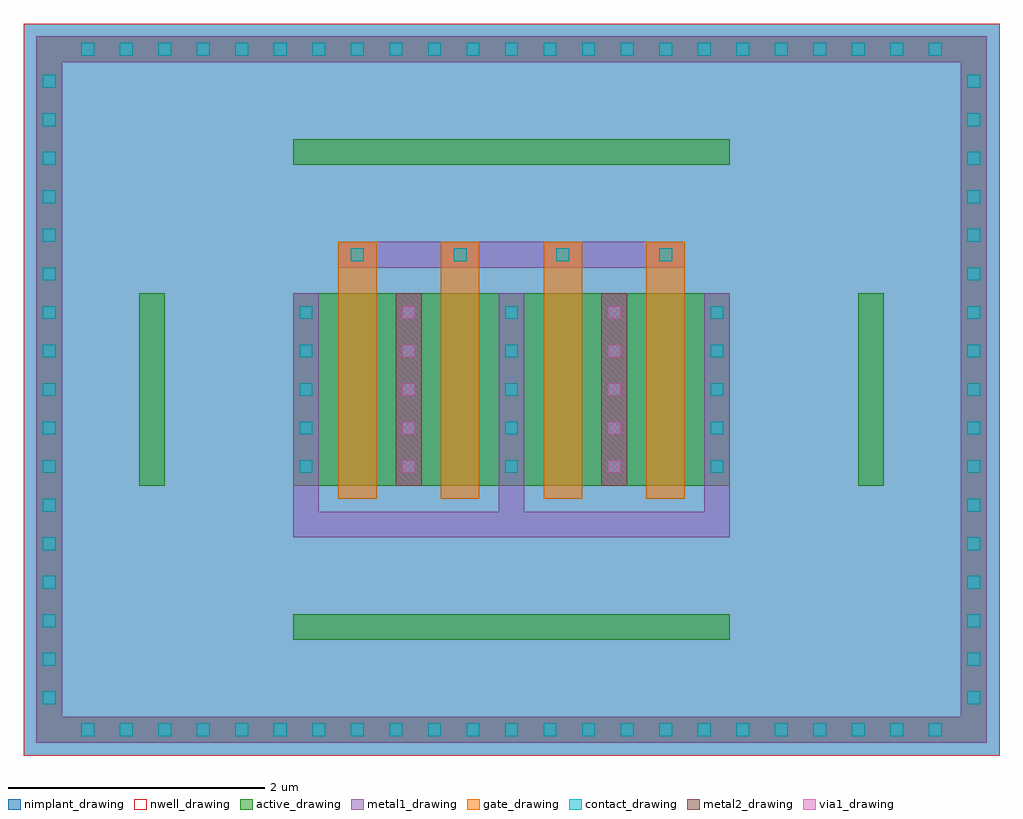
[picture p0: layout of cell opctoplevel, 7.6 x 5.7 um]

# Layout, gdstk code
import gdstk
lib = gdstk.Library(unit=1e-6, precision=1e-09)
def R(c, l, rs):  # rectangles x0, y0, x1, y1
    for r in rs: c.add(gdstk.rectangle(r[:2], r[2:], *l))
def A(c, l, x, y, w, h, nx, ny, dx, dy):  # array of equal rectangles
    R(c, l, [(x+i*dx, y+j*dy, x+i*dx+w, y+j*dy+h) for i in range(nx) for j in range(ny)])
active_drawing = (1, 0)
nwell_drawing = (3, 0)
nimplant_drawing = (5, 0)
gate_drawing = (6, 0)
contact_drawing = (7, 0)
metal1_drawing = (8, 0)
via1_drawing = (9, 0)
metal2_drawing = (10, 0)

opctoplevel = lib.new_cell('opctoplevel')
R(opctoplevel, active_drawing, [(-2.35,-2,5.05,-1.8), (-2.35,-2,-2.15,3.5), (4.85,-2,5.05,3.5), (-0.35,-1.2,3.05,-1), (-1.55,0,-1.35,1.5), (-0.35,0,3.05,1.5), (4.05,0,4.25,1.5), (-0.35,2.5,3.05,2.7), (-2.35,3.3,5.05,3.5)])
R(opctoplevel, nwell_drawing, [(-2.45,-2.1,5.15,3.6)])
R(opctoplevel, nimplant_drawing, [(-2.45,-2.1,5.15,-1.7), (-2.45,-2.1,-2.05,3.6), (4.75,-2.1,5.15,3.6), (-2.05,-1.7,4.75,3.2), (-2.45,3.2,5.15,3.6)])
A(opctoplevel, gate_drawing, 0, -0.1, 0.3, 2, 4, 1, 0.8, 0)
A(opctoplevel, contact_drawing, -2, -1.95, 0.1, 0.1, 23, 2, 0.3, 5.3)
A(opctoplevel, contact_drawing, -2.3, -1.7, 0.1, 0.1, 1, 17, 0, 0.3)
A(opctoplevel, contact_drawing, 4.9, -1.7, 0.1, 0.1, 1, 17, 0, 0.3)
A(opctoplevel, contact_drawing, -0.3, 0.1, 0.1, 0.1, 5, 5, 0.8, 0.3)
A(opctoplevel, contact_drawing, 0.1, 1.75, 0.1, 0.1, 4, 1, 0.8, 0)
A(opctoplevel, metal1_drawing, -0.35, -0.2, 0.2, 0.2, 3, 1, 1.6, 0)
A(opctoplevel, metal1_drawing, -0.35, 0, 0.2, 1.5, 5, 1, 0.8, 0)
R(opctoplevel, metal1_drawing, [(-2.35,-2,5.05,-1.8), (-2.35,-2,-2.15,3.5), (4.85,-2,5.05,3.5), (-0.35,-0.4,3.05,-0.2), (0,1.7,2.7,1.9), (-2.35,3.3,5.05,3.5)])
A(opctoplevel, via1_drawing, 0.5, 0.1, 0.1, 0.1, 1, 5, 0, 0.3)
A(opctoplevel, via1_drawing, 2.1, 0.1, 0.1, 0.1, 1, 5, 0, 0.3)
R(opctoplevel, metal2_drawing, [(0.45,0,0.65,1.5), (2.05,0,2.25,1.5)])

lib.write_gds('opctoplevel.gds')
